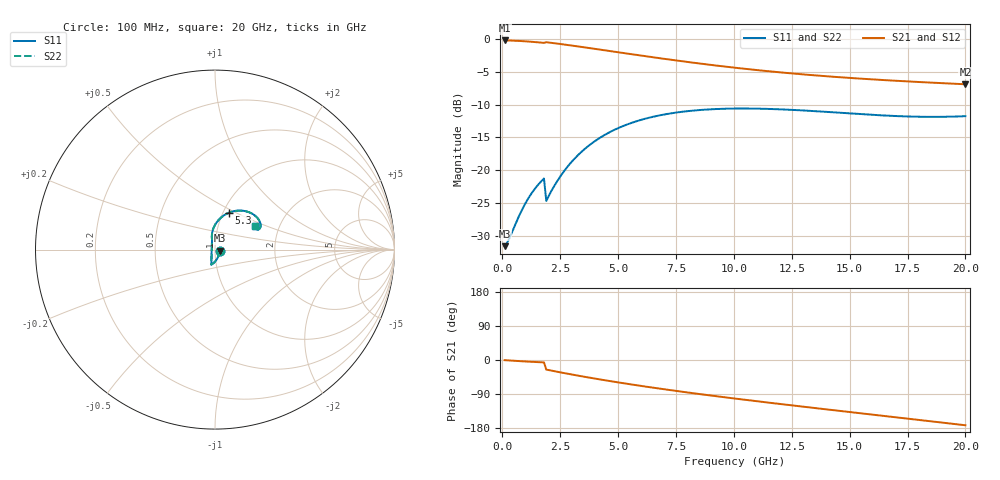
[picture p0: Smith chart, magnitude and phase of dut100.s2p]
! Created with skrf 1.9.0 (http://scikit-rf.org).
# GHz S RI R 50.0
!freq ReS11 ImS11 ReS21 ImS21 ReS12 ImS12 ReS22 ImS22
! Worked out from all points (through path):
!   200 points, 100 MHz to 20 GHz, reference 50 ohm
!   highest |S21| = -0.23 dB at 100 MHz (marker M1); lowest = -6.9 dB at 20 GHz (marker M2)
!   group delay of S21, straight-line fit = 23.3 ps
!   lowest |S11| = -31.6 dB at 100 MHz (marker M3), VSWR 1.05, Z = 52.6 - j0.646 ohm
!   |S11| at or under -10 dB: start of sweep to end of sweep
!   |S22| runs from -31.6 to -10.6 dB; largest |S21 - S12| = 1.7e-15
!   S11 on the Smith chart (normalised r, x): 100 MHz: 1.05, -0.01; 5.3 GHz: 1.07, +0.46; 20 GHz: 1.49, +0.43
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0.1  0.0256 -0.00613  0.974 -0.00694  0.974 -0.00694  0.0256 -0.00613
0.3  0.0242 -0.0178  0.9725 -0.0211  0.9725 -0.0211  0.0242 -0.0178
0.8  0.0149 -0.0455  0.963 -0.054  0.963 -0.054  0.0149 -0.0455
1.1  0.00593 -0.0597  0.9541 -0.0713  0.9541 -0.0713  0.00593 -0.0597
1.4  -0.00481 -0.0717  0.9436 -0.0863  0.9436 -0.0863  -0.00481 -0.0717
1.8  -0.0207 -0.0839  0.9283 -0.1027  0.9283 -0.1027  -0.0207 -0.0839
1.9  -0.0165 0.0559  0.8535 -0.4038  0.8535 -0.4038  -0.0165 0.0559
2.2  -0.0177 0.0714  0.8138 -0.4507  0.8138 -0.4507  -0.0177 0.0714
2.6  -0.0159 0.0934  0.7576 -0.5055  0.7576 -0.5055  -0.0159 0.0934
3  -0.01 0.1157  0.6993 -0.5517  0.6993 -0.5517  -0.01 0.1157
3.5  0.00264 0.1421  0.6251 -0.5987  0.6251 -0.5987  0.00264 0.1421
4.3  0.0323 0.1774  0.5069 -0.6518  0.5069 -0.6518  0.0323 0.1774
5.3  0.078 0.2056  0.366 -0.6867  0.366 -0.6867  0.078 0.2056
6.8  0.1461 0.2173  0.1778 -0.6908  0.1778 -0.6908  0.1461 0.2173
8.4  0.2021 0.2027  0.0122 -0.6539  0.0122 -0.6539  0.2021 0.2027
10.1  0.2379 0.1745  -0.1267 -0.5888  -0.1267 -0.5888  0.2379 0.1745
11.7  0.2523 0.1476  -0.2285 -0.5145  -0.2285 -0.5145  0.2523 0.1476
13.4  0.253 0.1257  -0.3119 -0.4282  -0.3119 -0.4282  0.253 0.1257
15  0.2456 0.1141  -0.3708 -0.3425  -0.3708 -0.3425  0.2456 0.1141
16.7  0.2345 0.1122  -0.4149 -0.2482  -0.4149 -0.2482  0.2345 0.1122
18.4  0.2249 0.1199  -0.4404 -0.1519  -0.4404 -0.1519  0.2249 0.1199
20  0.2206 0.1338  -0.4474 -0.0613  -0.4474 -0.0613  0.2206 0.1338
